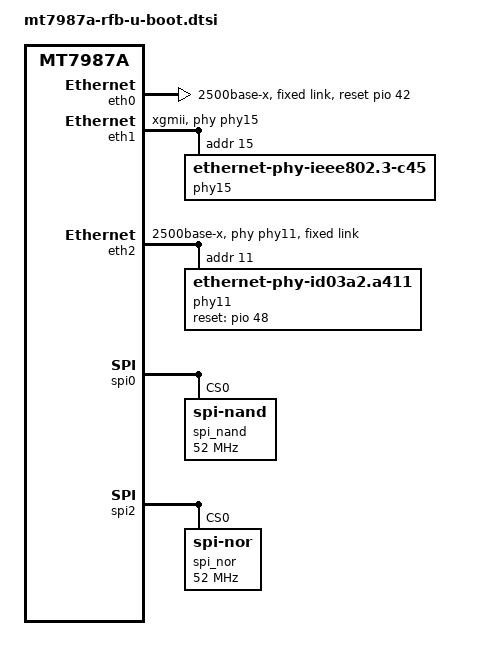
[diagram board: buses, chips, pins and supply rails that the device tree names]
// SPDX-License-Identifier: GPL-2.0
/*
 * Copyright (c) 2025 MediaTek Inc.
 * Author: Sam Shih <sam.shih@mediatek.com>
 */

#include "mt7987a-u-boot.dtsi"
#include "mt7987-netsys-u-boot.dtsi"

&eth0 {
	status = "okay";
	pinctrl-names = "default";
	pinctrl-0 = <&mdio0_pins>;
	phy-mode = "2500base-x";
	mediatek,switch = "auto";
	reset-gpios = <&pio 42 GPIO_ACTIVE_HIGH>;

	fixed-link {
		speed = <2500>;
		full-duplex;
		pause;
	};
};

&eth1 {
	status = "okay";
	pinctrl-names = "i2p5gbe-led";
	pinctrl-0 = <&i2p5gbe_led0_pins>;
	phy-mode = "xgmii";
	phy-handle = <&phy15>;

	phy15: ethernet-phy@15 {
		compatible = "ethernet-phy-ieee802.3-c45";
		reg = <15>;
		phy-mode = "xgmii";
	};
};

&eth2 {
	status = "okay";
	pinctrl-names = "default";
	pinctrl-0 = <&mdio0_pins>;
	phy-mode = "2500base-x";
	phy-handle = <&phy11>;

	fixed-link {
		speed = <2500>;
		full-duplex;
	};

	phy11: eth-phy@11 {
		compatible = "ethernet-phy-id03a2.a411";
		reg = <11>;
		phy-mode = "2500base-x";
		reset-gpios = <&pio 48 GPIO_ACTIVE_HIGH>;
		reset-assert-us = <100000>;
		reset-deassert-us = <100000>;
	};
};

&spi0 {
	pinctrl-names = "default";
	pinctrl-0 = <&spi0_flash_pins>;
	#address-cells = <1>;
	#size-cells = <0>;
	status = "okay";
	must_tx;
	enhance_timing;
	dma_ext;
	ipm_design;
	support_quad;
	tick_dly = <2>;
	sample_sel = <0>;

	/delete-node/ flash@0;
	spi_nand@0 {
		compatible = "spi-nand";
		reg = <0>;
		spi-max-frequency = <52000000>;
		spi-rx-bus-width = <4>;
		spi-tx-bus-width = <4>;
	};
};

&spi2 {
	pinctrl-names = "default";
	pinctrl-0 = <&spi2_flash_pins>;
	#address-cells = <1>;
	#size-cells = <0>;
	status = "okay";
	must_tx;
	enhance_timing;
	dma_ext;
	ipm_design;
	support_quad;
	tick_dly = <2>;
	sample_sel = <0>;

	/delete-node/ flash@0;
	spi_nor@0 {
		compatible = "jedec,spi-nor";
		reg = <0>;
		spi-max-frequency = <52000000>;
		spi-rx-bus-width = <4>;
		spi-tx-bus-width = <4>;
	};
};
